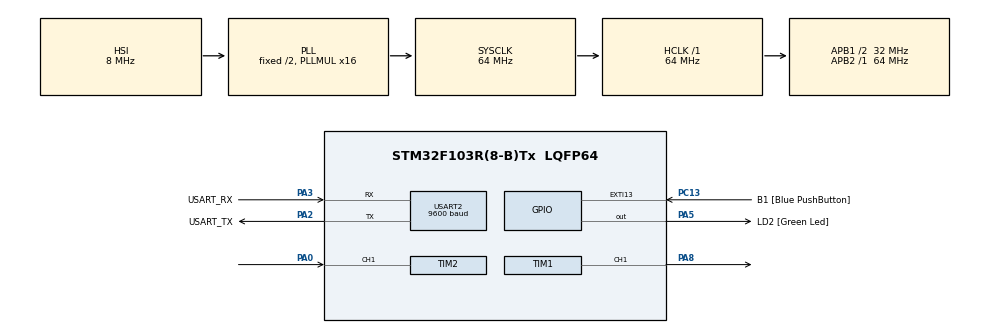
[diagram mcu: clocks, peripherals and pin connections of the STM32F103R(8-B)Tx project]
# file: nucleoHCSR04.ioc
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Mcu.Family=STM32F1
Mcu.Name=STM32F103R(8-B)Tx
Mcu.Package=LQFP64
NVIC.EXTI15_10_IRQn=true\:0\:0\:false\:false\:true\:true\:true\:true
NVIC.PriorityGroup=NVIC_PRIORITYGROUP_4
NVIC.TIM2_IRQn=true\:0\:0\:false\:false\:true\:true\:true\:true
PA0-WKUP.Signal=S_TIM2_CH1_ETR
PA13.GPIO_Label=TMS
PA13.Mode=Serial_Wire
PA13.Signal=SYS_JTMS-SWDIO
PA14.GPIO_Label=TCK
PA14.Mode=Serial_Wire
PA14.Signal=SYS_JTCK-SWCLK
PA2.GPIO_Label=USART_TX
PA2.GPIO_Mode=GPIO_MODE_AF_PP
PA2.GPIO_PuPd=GPIO_NOPULL
PA2.GPIO_Speed=GPIO_SPEED_FREQ_LOW
PA2.Mode=Asynchronous
PA2.Signal=USART2_TX
PA3.GPIO_Label=USART_RX
PA3.GPIO_Mode=GPIO_MODE_AF_PP
PA3.GPIO_PuPd=GPIO_NOPULL
PA3.GPIO_Speed=GPIO_SPEED_FREQ_LOW
PA3.Mode=Asynchronous
PA3.Signal=USART2_RX
PA5.GPIO_Label=LD2 [Green Led]
PA5.GPIO_ModeDefaultOutputPP=GPIO_MODE_OUTPUT_PP
PA5.GPIO_PuPd=GPIO_NOPULL
PA5.GPIO_Speed=GPIO_SPEED_FREQ_LOW
PA5.Signal=GPIO_Output
PA8.Signal=S_TIM1_CH1
PB3.GPIO_Label=SWO
PB3.Signal=SYS_JTDO-TRACESWO
PC13-TAMPER-RTC.GPIO_Label=B1 [Blue PushButton]
PC13-TAMPER-RTC.GPIO_PuPd=GPIO_NOPULL
PC13-TAMPER-RTC.Signal=GPXTI13
PC14-OSC32_IN.Mode=LSE-External-Oscillator
PC14-OSC32_IN.Signal=RCC_OSC32_IN
PC15-OSC32_OUT.Mode=LSE-External-Oscillator
PC15-OSC32_OUT.Signal=RCC_OSC32_OUT
PD0-OSC_IN.Mode=HSE-External-Clock-Source
PD0-OSC_IN.Signal=RCC_OSC_IN
PD1-OSC_OUT.Mode=HSE-External-Clock-Source
PD1-OSC_OUT.Signal=RCC_OSC_OUT
ProjectManager.HeapSize=0x200
ProjectManager.StackSize=0x400
ProjectManager.TargetToolchain=STM32CubeIDE
RCC.AHBFreq_Value=64000000
RCC.APB1CLKDivider=RCC_HCLK_DIV2
RCC.APB1Freq_Value=32000000
RCC.APB1TimFreq_Value=64000000
RCC.APB2Freq_Value=64000000
RCC.APB2TimFreq_Value=64000000
RCC.HCLKFreq_Value=64000000
RCC.PLLMUL=RCC_PLL_MUL16
RCC.RTCClockSelection=RCC_RTCCLKSOURCE_LSE
RCC.SYSCLKFreq_VALUE=64000000
RCC.SYSCLKSource=RCC_SYSCLKSOURCE_PLLCLK
RCC.USBFreq_Value=64000000
SH.S_TIM1_CH1.0=TIM1_CH1,PWM Generation1 CH1
SH.S_TIM2_CH1_ETR.0=TIM2_CH1,Input_Capture1_from_TI1
TIM1.Channel-Output\ Compare2\ No\ Output=TIM_CHANNEL_2
TIM1.Channel-PWM\ Generation1\ CH1=TIM_CHANNEL_1
TIM1.Period=999
TIM1.Prescaler=63
TIM1.Pulse-Output\ Compare2\ No\ Output=9
TIM1.Pulse-PWM\ Generation1\ CH1=9
TIM1.TIM_MasterSlaveMode=TIM_MASTERSLAVEMODE_ENABLE
TIM2.Channel-Input_Capture1_from_TI1=TIM_CHANNEL_1
TIM2.ICFilter_CH1=0
TIM2.ICPolarity_CH1=TIM_INPUTCHANNELPOLARITY_RISING
TIM2.Period=9999
TIM2.Prescaler=63
USART2.BaudRate=9600
USART2.VirtualMode=VM_ASYNC
VP_TIM1_VS_ClockSourceINT.Mode=Internal
VP_TIM1_VS_no_output2.Mode=Output Compare2 No Output
VP_TIM2_VS_ClockSourceINT.Mode=Internal
VP_TIM2_VS_ClockSourceITR.Mode=TriggerSource_ITR0
VP_TIM2_VS_ControllerModeReset.Mode=Reset Mode
board=NUCLEO-F103RB

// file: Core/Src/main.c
/* USER CODE BEGIN Header */
/**
  ******************************************************************************
  * @file           : main.c
  * @brief          : Main program body
  ******************************************************************************
  * @attention
  *
  * Copyright (c) 2022 STMicroelectronics.
  * All rights reserved.
  *
  * This software is licensed under terms that can be found in the LICENSE file
  * in the root directory of this software component.
  * If no LICENSE file comes with this software, it is provided AS-IS.
  *
  ******************************************************************************
  */
/* USER CODE END Header */
#include "main.h"

 TIM_HandleTypeDef htim1;
TIM_HandleTypeDef htim2;

UART_HandleTypeDef huart2;

/* USER CODE BEGIN PV */
uint32_t IC1;
/* USER CODE END PV */

void SystemClock_Config(void);
static void MX_GPIO_Init(void);
static void MX_USART2_UART_Init(void);
static void MX_TIM1_Init(void);
static void MX_TIM2_Init(void);

/* USER CODE BEGIN 0 */
#ifdef __GNUC__
/* With GCC, small printf (option LD Linker->Libraries->Small printf
   set to 'Yes') calls __io_putchar() */
#define PUTCHAR_PROTOTYPE int __io_putchar(int ch)
#else
#define PUTCHAR_PROTOTYPE int fputc(int ch, FILE *f)
#endif /* __GNUC__ */

PUTCHAR_PROTOTYPE
{
  /* Place your implementation of fputc here */
  /* e.g. write a character to the USART1 and Loop until the end of transmission */
  HAL_UART_Transmit(&huart2, (uint8_t *)&ch, 1, 0xFFFF);

  return ch;
}

void HAL_TIM_IC_CaptureCallback(TIM_HandleTypeDef *htim)
{
	if(htim->Channel == HAL_TIM_ACTIVE_CHANNEL_1)
	{
		IC1 = HAL_TIM_ReadCapturedValue(htim, TIM_CHANNEL_1);
	}
}
/* USER CODE END 0 */

int main(void)
{

  /* MCU Configuration--------------------------------------------------------*/

  /* Reset of all peripherals, Initializes the Flash interface and the Systick. */
  HAL_Init();

  /* Configure the system clock */
  SystemClock_Config();

  /* Initialize all configured peripherals */
  MX_GPIO_Init();
  MX_USART2_UART_Init();
  MX_TIM1_Init();
  MX_TIM2_Init();
  /* USER CODE BEGIN 2 */
  HAL_TIM_PWM_Start(&htim1, TIM_CHANNEL_1);
  HAL_TIM_IC_Start_IT(&htim2, TIM_CHANNEL_1);

  /* USER CODE END 2 */

  /* Infinite loop */
  while (1)
  {

    /* USER CODE BEGIN 3 */
	  printf("pulse : %d\r\n",IC1);
	  HAL_Delay(100);

  }
  /* USER CODE END 3 */
}

void SystemClock_Config(void)
{
  RCC_OscInitTypeDef RCC_OscInitStruct = {0};
  RCC_ClkInitTypeDef RCC_ClkInitStruct = {0};

  /** Initializes the RCC Oscillators according to the specified parameters
  * in the RCC_OscInitTypeDef structure.
  */
  RCC_OscInitStruct.OscillatorType = RCC_OSCILLATORTYPE_HSI;
  RCC_OscInitStruct.HSIState = RCC_HSI_ON;
  RCC_OscInitStruct.HSICalibrationValue = RCC_HSICALIBRATION_DEFAULT;
  RCC_OscInitStruct.PLL.PLLState = RCC_PLL_ON;
  RCC_OscInitStruct.PLL.PLLSource = RCC_PLLSOURCE_HSI_DIV2;
  RCC_OscInitStruct.PLL.PLLMUL = RCC_PLL_MUL16;
  if (HAL_RCC_OscConfig(&RCC_OscInitStruct) != HAL_OK)
  {
    Error_Handler();
  }

  /** Initializes the CPU, AHB and APB buses clocks
  */
  RCC_ClkInitStruct.ClockType = RCC_CLOCKTYPE_HCLK|RCC_CLOCKTYPE_SYSCLK
                              |RCC_CLOCKTYPE_PCLK1|RCC_CLOCKTYPE_PCLK2;
  RCC_ClkInitStruct.SYSCLKSource = RCC_SYSCLKSOURCE_PLLCLK;
  RCC_ClkInitStruct.AHBCLKDivider = RCC_SYSCLK_DIV1;
  RCC_ClkInitStruct.APB1CLKDivider = RCC_HCLK_DIV2;
  RCC_ClkInitStruct.APB2CLKDivider = RCC_HCLK_DIV1;

  if (HAL_RCC_ClockConfig(&RCC_ClkInitStruct, FLASH_LATENCY_2) != HAL_OK)
  {
    Error_Handler();
  }
}

static void MX_TIM1_Init(void)
{

  TIM_ClockConfigTypeDef sClockSourceConfig = {0};
  TIM_MasterConfigTypeDef sMasterConfig = {0};
  TIM_OC_InitTypeDef sConfigOC = {0};
  TIM_BreakDeadTimeConfigTypeDef sBreakDeadTimeConfig = {0};

  htim1.Instance = TIM1;
  htim1.Init.Prescaler = 63;
  htim1.Init.CounterMode = TIM_COUNTERMODE_UP;
  htim1.Init.Period = 999;
  htim1.Init.ClockDivision = TIM_CLOCKDIVISION_DIV1;
  htim1.Init.RepetitionCounter = 0;
  htim1.Init.AutoReloadPreload = TIM_AUTORELOAD_PRELOAD_DISABLE;
  if (HAL_TIM_Base_Init(&htim1) != HAL_OK)
  {
    Error_Handler();
  }
  sClockSourceConfig.ClockSource = TIM_CLOCKSOURCE_INTERNAL;
  if (HAL_TIM_ConfigClockSource(&htim1, &sClockSourceConfig) != HAL_OK)
  {
    Error_Handler();
  }
  if (HAL_TIM_PWM_Init(&htim1) != HAL_OK)
  {
    Error_Handler();
  }
  if (HAL_TIM_OC_Init(&htim1) != HAL_OK)
  {
    Error_Handler();
  }
  sMasterConfig.MasterOutputTrigger = TIM_TRGO_RESET;
  sMasterConfig.MasterSlaveMode = TIM_MASTERSLAVEMODE_ENABLE;
  if (HAL_TIMEx_MasterConfigSynchronization(&htim1, &sMasterConfig) != HAL_OK)
  {
    Error_Handler();
  }
  sConfigOC.OCMode = TIM_OCMODE_PWM1;
  sConfigOC.Pulse = 9;
  sConfigOC.OCPolarity = TIM_OCPOLARITY_HIGH;
  sConfigOC.OCNPolarity = TIM_OCNPOLARITY_HIGH;
  sConfigOC.OCFastMode = TIM_OCFAST_DISABLE;
  sConfigOC.OCIdleState = TIM_OCIDLESTATE_RESET;
  sConfigOC.OCNIdleState = TIM_OCNIDLESTATE_RESET;
  if (HAL_TIM_PWM_ConfigChannel(&htim1, &sConfigOC, TIM_CHANNEL_1) != HAL_OK)
  {
    Error_Handler();
  }
  sConfigOC.OCMode = TIM_OCMODE_TIMING;
  if (HAL_TIM_OC_ConfigChannel(&htim1, &sConfigOC, TIM_CHANNEL_2) != HAL_OK)
  {
    Error_Handler();
  }
  sBreakDeadTimeConfig.OffStateRunMode = TIM_OSSR_DISABLE;
  sBreakDeadTimeConfig.OffStateIDLEMode = TIM_OSSI_DISABLE;
  sBreakDeadTimeConfig.LockLevel = TIM_LOCKLEVEL_OFF;
  sBreakDeadTimeConfig.DeadTime = 0;
  sBreakDeadTimeConfig.BreakState = TIM_BREAK_DISABLE;
  sBreakDeadTimeConfig.BreakPolarity = TIM_BREAKPOLARITY_HIGH;
  sBreakDeadTimeConfig.AutomaticOutput = TIM_AUTOMATICOUTPUT_DISABLE;
  if (HAL_TIMEx_ConfigBreakDeadTime(&htim1, &sBreakDeadTimeConfig) != HAL_OK)
  {
    Error_Handler();
  }
  HAL_TIM_MspPostInit(&htim1);

}

static void MX_TIM2_Init(void)
{

  TIM_ClockConfigTypeDef sClockSourceConfig = {0};
  TIM_SlaveConfigTypeDef sSlaveConfig = {0};
  TIM_MasterConfigTypeDef sMasterConfig = {0};
  TIM_IC_InitTypeDef sConfigIC = {0};

  htim2.Instance = TIM2;
  htim2.Init.Prescaler = 63;
  htim2.Init.CounterMode = TIM_COUNTERMODE_UP;
  htim2.Init.Period = 9999;
  htim2.Init.ClockDivision = TIM_CLOCKDIVISION_DIV1;
  htim2.Init.AutoReloadPreload = TIM_AUTORELOAD_PRELOAD_DISABLE;
  if (HAL_TIM_Base_Init(&htim2) != HAL_OK)
  {
    Error_Handler();
  }
  sClockSourceConfig.ClockSource = TIM_CLOCKSOURCE_INTERNAL;
  if (HAL_TIM_ConfigClockSource(&htim2, &sClockSourceConfig) != HAL_OK)
  {
    Error_Handler();
  }
  if (HAL_TIM_IC_Init(&htim2) != HAL_OK)
  {
    Error_Handler();
  }
  sSlaveConfig.SlaveMode = TIM_SLAVEMODE_RESET;
  sSlaveConfig.InputTrigger = TIM_TS_ITR0;
  if (HAL_TIM_SlaveConfigSynchro(&htim2, &sSlaveConfig) != HAL_OK)
  {
    Error_Handler();
  }
  sMasterConfig.MasterOutputTrigger = TIM_TRGO_RESET;
  sMasterConfig.MasterSlaveMode = TIM_MASTERSLAVEMODE_DISABLE;
  if (HAL_TIMEx_MasterConfigSynchronization(&htim2, &sMasterConfig) != HAL_OK)
  {
    Error_Handler();
  }
  sConfigIC.ICPolarity = TIM_INPUTCHANNELPOLARITY_RISING;
  sConfigIC.ICSelection = TIM_ICSELECTION_DIRECTTI;
  sConfigIC.ICPrescaler = TIM_ICPSC_DIV1;
  sConfigIC.ICFilter = 0;
  if (HAL_TIM_IC_ConfigChannel(&htim2, &sConfigIC, TIM_CHANNEL_1) != HAL_OK)
  {
    Error_Handler();
  }

}

static void MX_USART2_UART_Init(void)
{

  huart2.Instance = USART2;
  huart2.Init.BaudRate = 9600;
  huart2.Init.WordLength = UART_WORDLENGTH_8B;
  huart2.Init.StopBits = UART_STOPBITS_1;
  huart2.Init.Parity = UART_PARITY_NONE;
  huart2.Init.Mode = UART_MODE_TX_RX;
  huart2.Init.HwFlowCtl = UART_HWCONTROL_NONE;
  huart2.Init.OverSampling = UART_OVERSAMPLING_16;
  if (HAL_UART_Init(&huart2) != HAL_OK)
  {
    Error_Handler();
  }

}

static void MX_GPIO_Init(void)
{
  GPIO_InitTypeDef GPIO_InitStruct = {0};

  /* GPIO Ports Clock Enable */
  __HAL_RCC_GPIOC_CLK_ENABLE();
  __HAL_RCC_GPIOD_CLK_ENABLE();
  __HAL_RCC_GPIOA_CLK_ENABLE();
  __HAL_RCC_GPIOB_CLK_ENABLE();

  /*Configure GPIO pin Output Level */
  HAL_GPIO_WritePin(LD2_GPIO_Port, LD2_Pin, GPIO_PIN_RESET);

  /*Configure GPIO pin : B1_Pin */
  GPIO_InitStruct.Pin = B1_Pin;
  GPIO_InitStruct.Mode = GPIO_MODE_IT_RISING;
  GPIO_InitStruct.Pull = GPIO_NOPULL;
  HAL_GPIO_Init(B1_GPIO_Port, &GPIO_InitStruct);

  /*Configure GPIO pin : LD2_Pin */
  GPIO_InitStruct.Pin = LD2_Pin;
  GPIO_InitStruct.Mode = GPIO_MODE_OUTPUT_PP;
  GPIO_InitStruct.Pull = GPIO_NOPULL;
  GPIO_InitStruct.Speed = GPIO_SPEED_FREQ_LOW;
  HAL_GPIO_Init(LD2_GPIO_Port, &GPIO_InitStruct);

  /* EXTI interrupt init*/
  HAL_NVIC_SetPriority(EXTI15_10_IRQn, 0, 0);
  HAL_NVIC_EnableIRQ(EXTI15_10_IRQn);

}

void Error_Handler(void)
{
  __disable_irq();
  while (1)
  {
  }
}
